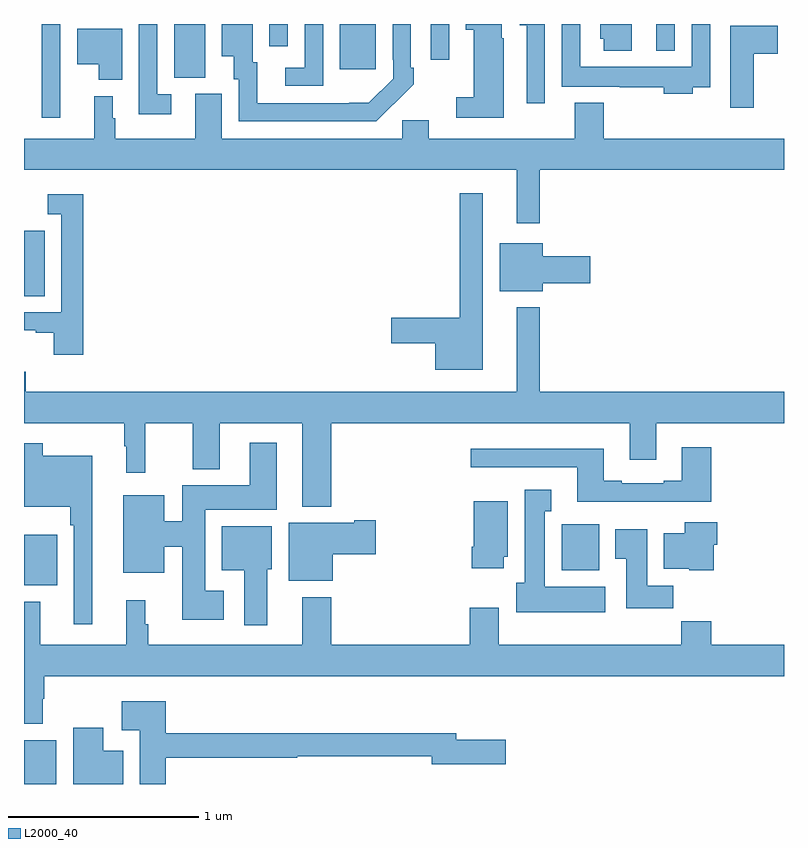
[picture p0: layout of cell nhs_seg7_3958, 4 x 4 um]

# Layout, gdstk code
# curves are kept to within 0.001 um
import gdstk
lib = gdstk.Library(unit=1e-6, precision=1e-09)
def R(c, l, rs):  # rectangles x0, y0, x1, y1
    for r in rs: c.add(gdstk.rectangle(r[:2], r[2:], *l))
def P(c, l, *ps):  # polygons
    for p in ps: c.add(gdstk.Polygon(p, *l))
L2000_40 = (2000, 40)

nhs_seg7_3958 = lib.new_cell('nhs_seg7_3958')
R(nhs_seg7_3958, L2000_40, [(361,1048,361.171,1048.231), (361,1049.045,361.174,1049.311), (363.83,1049.126,364.027,1049.368), (361,1050.568,361.108,1050.912), (361.094,1051.506,361.191,1052), (361.79,1051.717,361.954,1052), (362.663,1051.761,362.851,1052), (363.141,1051.812,363.237,1052), (364.328,1051.859,364.425,1052), (362.292,1051.884,362.388,1052)])
P(nhs_seg7_3958, L2000_40, [(364.519,1051.668),(364.611,1051.668),(364.611,1052),(364.515,1052),(364.515,1051.774),(363.927,1051.774),(363.927,1052),(363.831,1052),(363.831,1051.67),(364.135,1051.67),(364.135,1051.668),(364.367,1051.668),(364.367,1051.634),(364.519,1051.634)],
  [(361.774,1051.629),(361.701,1051.629),(361.701,1052),(361.605,1052),(361.605,1051.524),(361.774,1051.524)],
  [(362.574,1052),(362.478,1052),(362.478,1051.77),(362.376,1051.77),(362.376,1051.674),(362.574,1051.674)],
  [(363.741,1052),(363.608,1052),(363.608,1051.994),(363.645,1051.994),(363.645,1051.584),(363.741,1051.584)],
  [(362.945,1051.579),(362.946,1051.578),(363.051,1051.683),(363.051,1051.771),(363.036,1051.771),(363.036,1052),(362.94,1052),(362.94,1051.813),(362.943,1051.813),(362.943,1051.713),(362.815,1051.585),(362.711,1051.584),(362.227,1051.584),(362.227,1051.8),(362.203,1051.8),(362.203,1052),(362.042,1052),(362.042,1051.829),(362.105,1051.829),(362.105,1051.71),(362.13,1051.71),(362.13,1051.488),(362.854,1051.488)],
  [(364.198,1052),(364.034,1052),(364.034,1051.923),(364.052,1051.923),(364.052,1051.86),(364.198,1051.86)],
  [(363.526,1051.926),(363.514,1051.926),(363.514,1052),(363.326,1052),(363.326,1051.97),(363.368,1051.97),(363.368,1051.615),(363.276,1051.615),(363.276,1051.506),(363.526,1051.506)],
  [(364.84,1051.843),(364.966,1051.843),(364.966,1051.99),(364.718,1051.99),(364.718,1051.56),(364.84,1051.56)],
  [(361.516,1051.975),(361.28,1051.975),(361.28,1051.787),(361.394,1051.787),(361.394,1051.706),(361.516,1051.706)],
  [(363.715,1051.232),(365,1051.232),(365,1051.396),(364.052,1051.396),(364.052,1051.585),(363.899,1051.585),(363.899,1051.396),(363.13,1051.396),(363.13,1051.494),(362.991,1051.494),(362.991,1051.396),(362.041,1051.396),(362.041,1051.632),(361.901,1051.632),(361.901,1051.396),(361.48,1051.396),(361.48,1051.503),(361.468,1051.503),(361.468,1051.621),(361.37,1051.621),(361.37,1051.396),(361,1051.396),(361,1051.232),(363.593,1051.232),(363.593,1050.951),(363.715,1050.951)],
  [(363.415,1051.108),(363.294,1051.108),(363.294,1050.455),(362.934,1050.455),(362.934,1050.32),(363.164,1050.32),(363.164,1050.179),(363.415,1050.179)],
  [(361.313,1051.105),(361.125,1051.105),(361.125,1050.999),(361.197,1050.999),(361.197,1050.483),(361,1050.483),(361,1050.387),(361.061,1050.387),(361.061,1050.375),(361.157,1050.375),(361.157,1050.258),(361.313,1050.258)],
  [(363.73,1050.635),(363.979,1050.635),(363.979,1050.777),(363.73,1050.777),(363.73,1050.847),(363.503,1050.847),(363.503,1050.593),(363.73,1050.593)],
  [(362.618,1049.9),(364.187,1049.9),(364.187,1049.706),(364.327,1049.706),(364.327,1049.9),(365,1049.9),(365,1050.064),(363.715,1050.064),(363.715,1050.508),(363.593,1050.508),(363.593,1050.064),(361.01,1050.064),(361.01,1050.17),(361,1050.17),(361,1049.9),(361.527,1049.9),(361.527,1049.777),(361.538,1049.777),(361.538,1049.637),(361.638,1049.637),(361.638,1049.9),(361.889,1049.9),(361.889,1049.657),(362.029,1049.657),(362.029,1049.9),(362.465,1049.9),(362.465,1049.459),(362.618,1049.459)],
  [(362.05,1049.017),(361.954,1049.017),(361.954,1049.444),(362.329,1049.444),(362.329,1049.797),(362.189,1049.797),(362.189,1049.572),(361.832,1049.572),(361.832,1049.384),(361.738,1049.384),(361.738,1049.521),(361.523,1049.521),(361.523,1049.111),(361.738,1049.111),(361.738,1049.248),(361.832,1049.248),(361.832,1048.865),(362.05,1048.865)],
  [(361.36,1049.728),(361.099,1049.728),(361.099,1049.794),(361,1049.794),(361,1049.459),(361.243,1049.459),(361.243,1049.363),(361.263,1049.363),(361.263,1048.842),(361.36,1048.842)],
  [(364.616,1049.773),(364.463,1049.773),(364.463,1049.596),(364.367,1049.596),(364.367,1049.583),(364.147,1049.583),(364.147,1049.596),(364.051,1049.596),(364.051,1049.764),(363.351,1049.764),(363.351,1049.667),(363.911,1049.667),(363.911,1049.486),(364.616,1049.486)],
  [(364.06,1049.038),(363.742,1049.038),(363.742,1049.435),(363.775,1049.435),(363.775,1049.548),(363.635,1049.548),(363.635,1049.058),(363.59,1049.058),(363.59,1048.904),(364.06,1048.904)],
  [(363.526,1049.196),(363.547,1049.196),(363.547,1049.488),(363.368,1049.488),(363.368,1049.248),(363.356,1049.248),(363.356,1049.136),(363.526,1049.136)],
  [(362.626,1049.209),(362.851,1049.209),(362.851,1049.387),(362.738,1049.387),(362.738,1049.374),(362.393,1049.374),(362.393,1049.069),(362.626,1049.069)],
  [(364.631,1049.259),(364.649,1049.259),(364.649,1049.377),(364.478,1049.377),(364.478,1049.32),(364.367,1049.32),(364.367,1049.132),(364.5,1049.132),(364.5,1049.126),(364.631,1049.126)],
  [(362.281,1049.13),(362.305,1049.13),(362.305,1049.356),(362.042,1049.356),(362.042,1049.126),(362.159,1049.126),(362.159,1048.836),(362.281,1048.836)],
  [(364.418,1049.044),(364.279,1049.044),(364.279,1049.341),(364.112,1049.341),(364.112,1049.185),(364.169,1049.185),(364.169,1048.926),(364.418,1048.926)],
  [(361.099,1048.448),(361.107,1048.448),(361.107,1048.568),(365,1048.568),(365,1048.732),(364.616,1048.732),(364.616,1048.856),(364.459,1048.856),(364.459,1048.732),(363.499,1048.732),(363.499,1048.927),(363.347,1048.927),(363.347,1048.732),(362.618,1048.732),(362.618,1048.984),(362.465,1048.984),(362.465,1048.732),(361.655,1048.732),(361.655,1048.841),(361.637,1048.841),(361.637,1048.966),(361.538,1048.966),(361.538,1048.732),(361.085,1048.732),(361.085,1048.96),(361,1048.96),(361,1048.316),(361.099,1048.316)],
  [(361.745,1048.138),(362.439,1048.138),(362.439,1048.146),(363.146,1048.146),(363.146,1048.103),(363.535,1048.103),(363.535,1048.233),(363.274,1048.233),(363.274,1048.267),(361.745,1048.267),(361.745,1048.435),(361.515,1048.435),(361.515,1048.283),(361.61,1048.283),(361.61,1048),(361.745,1048)],
  [(361.522,1048.174),(361.417,1048.174),(361.417,1048.297),(361.259,1048.297),(361.259,1048),(361.522,1048)])

lib.write_gds('nhs_seg7_3958.gds')
